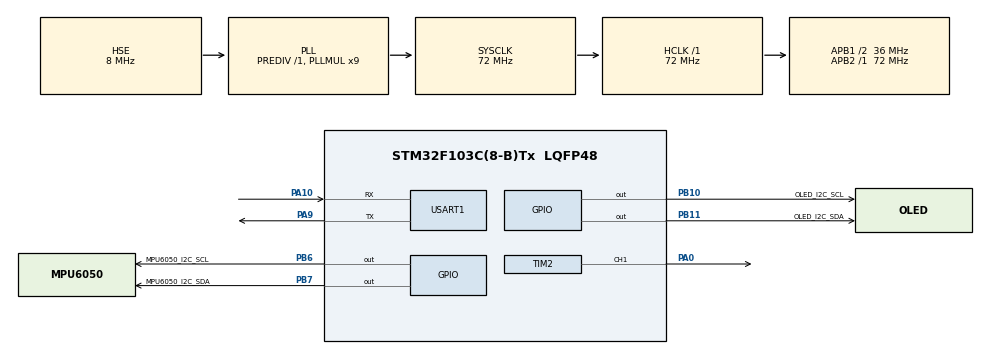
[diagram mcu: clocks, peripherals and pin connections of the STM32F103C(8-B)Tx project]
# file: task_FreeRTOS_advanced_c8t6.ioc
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Dma.Request0=USART1_RX
Dma.Request1=USART1_TX
Dma.USART1_RX.0.Direction=DMA_PERIPH_TO_MEMORY
Dma.USART1_RX.0.Instance=DMA1_Channel5
Dma.USART1_RX.0.MemDataAlignment=DMA_MDATAALIGN_BYTE
Dma.USART1_RX.0.MemInc=DMA_MINC_ENABLE
Dma.USART1_RX.0.Mode=DMA_NORMAL
Dma.USART1_RX.0.PeriphDataAlignment=DMA_PDATAALIGN_BYTE
Dma.USART1_RX.0.PeriphInc=DMA_PINC_DISABLE
Dma.USART1_RX.0.Priority=DMA_PRIORITY_LOW
Dma.USART1_TX.1.Direction=DMA_MEMORY_TO_PERIPH
Dma.USART1_TX.1.Instance=DMA1_Channel4
Dma.USART1_TX.1.MemDataAlignment=DMA_MDATAALIGN_BYTE
Dma.USART1_TX.1.MemInc=DMA_MINC_ENABLE
Dma.USART1_TX.1.Mode=DMA_NORMAL
Dma.USART1_TX.1.PeriphDataAlignment=DMA_PDATAALIGN_BYTE
Dma.USART1_TX.1.PeriphInc=DMA_PINC_DISABLE
Dma.USART1_TX.1.Priority=DMA_PRIORITY_LOW
FREERTOS.BinarySemaphores01=BinarySem_Rec,Dynamic,NULL
FREERTOS.Mutexes01=Mutex_UART_Lock,Dynamic,NULL
FREERTOS.Tasks01=myTask_read_IMU,8,128,StartmyTask_read_IMU,Default,NULL,Dynamic,NULL,NULL;myTask_LED,8,128,StartLED_Task,Default,NULL,Dynamic,NULL,NULL;myTask_UART,24,256,StartTask_UART,Default,NULL,Dynamic,NULL,NULL
Mcu.Family=STM32F1
Mcu.Name=STM32F103C(8-B)Tx
Mcu.Package=LQFP48
NVIC.DMA1_Channel4_IRQn=true\:5\:0\:false\:false\:true\:true\:false\:true
NVIC.DMA1_Channel5_IRQn=true\:5\:0\:false\:false\:true\:true\:false\:true
NVIC.PriorityGroup=NVIC_PRIORITYGROUP_4
NVIC.TIM4_IRQn=true\:15\:0\:false\:false\:true\:false\:false\:true
NVIC.TimeBase=TIM4_IRQn
NVIC.TimeBaseIP=TIM4
NVIC.USART1_IRQn=true\:5\:0\:false\:false\:true\:true\:true\:true
PA0-WKUP.Signal=S_TIM2_CH1_ETR
PA10.Mode=Asynchronous
PA10.Signal=USART1_RX
PA13.Mode=Serial_Wire
PA13.Signal=SYS_JTMS-SWDIO
PA14.Mode=Serial_Wire
PA14.Signal=SYS_JTCK-SWCLK
PA9.Mode=Asynchronous
PA9.Signal=USART1_TX
PB10.GPIO_Label=OLED_I2C_SCL
PB10.GPIO_ModeDefaultOutputPP=GPIO_MODE_OUTPUT_OD
PB10.GPIO_Speed=GPIO_SPEED_FREQ_MEDIUM
PB10.PinState=GPIO_PIN_SET
PB10.Signal=GPIO_Output
PB11.GPIO_Label=OLED_I2C_SDA
PB11.GPIO_ModeDefaultOutputPP=GPIO_MODE_OUTPUT_OD
PB11.GPIO_Speed=GPIO_SPEED_FREQ_MEDIUM
PB11.Signal=GPIO_Output
PB6.GPIO_Label=MPU6050_I2C_SCL
PB6.GPIO_Speed=GPIO_SPEED_FREQ_MEDIUM
PB6.PinState=GPIO_PIN_SET
PB6.Signal=GPIO_Output
PB7.GPIO_Label=MPU6050_I2C_SDA
PB7.GPIO_Speed=GPIO_SPEED_FREQ_MEDIUM
PB7.PinState=GPIO_PIN_SET
PB7.Signal=GPIO_Output
PC14-OSC32_IN.Mode=LSE-External-Oscillator
PC14-OSC32_IN.Signal=RCC_OSC32_IN
PC15-OSC32_OUT.Mode=LSE-External-Oscillator
PC15-OSC32_OUT.Signal=RCC_OSC32_OUT
PD0-OSC_IN.Mode=HSE-External-Oscillator
PD0-OSC_IN.Signal=RCC_OSC_IN
PD1-OSC_OUT.Mode=HSE-External-Oscillator
PD1-OSC_OUT.Signal=RCC_OSC_OUT
ProjectManager.HeapSize=0x200
ProjectManager.StackSize=0x400
ProjectManager.TargetToolchain=MDK-ARM V5.32
RCC.AHBFreq_Value=72000000
RCC.APB1CLKDivider=RCC_HCLK_DIV2
RCC.APB1Freq_Value=36000000
RCC.APB1TimFreq_Value=72000000
RCC.APB2Freq_Value=72000000
RCC.APB2TimFreq_Value=72000000
RCC.HCLKFreq_Value=72000000
RCC.PLLMUL=RCC_PLL_MUL9
RCC.PLLSourceVirtual=RCC_PLLSOURCE_HSE
RCC.SYSCLKFreq_VALUE=72000000
RCC.SYSCLKSource=RCC_SYSCLKSOURCE_PLLCLK
RCC.USBFreq_Value=72000000
SH.S_TIM2_CH1_ETR.0=TIM2_CH1,PWM Generation1 CH1
TIM2.Channel-PWM\ Generation1\ CH1=TIM_CHANNEL_1
TIM2.Period=100-1
TIM2.Prescaler=720-1
USART1.VirtualMode=VM_ASYNC
VP_FREERTOS_VS_CMSIS_V2.Mode=CMSIS_V2
VP_SYS_VS_tim4.Mode=TIM4
VP_TIM3_VS_ClockSourceINT.Mode=Internal
board=custom

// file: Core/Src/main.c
/* USER CODE BEGIN Header */
/**
  ******************************************************************************
  * @file           : main.c
  * @brief          : Main program body
  ******************************************************************************
  * @attention
  *
  * <h2><center>&copy; Copyright (c) 2024 STMicroelectronics.
  * All rights reserved.</center></h2>
  *
  * This software component is licensed by ST under Ultimate Liberty license
  * SLA0044, the "License"; You may not use this file except in compliance with
  * the License. You may obtain a copy of the License at:
  *                             www.st.com/SLA0044
  *
  ******************************************************************************
  */
/* USER CODE END Header */
#include "main.h"
#include "cmsis_os.h"
#include "dma.h"
#include "tim.h"
#include "usart.h"
#include "gpio.h"

/* USER CODE BEGIN Includes */
#include "OLED.h"
#include "delay.h"
#include "mpu6050.h"
#include "inv_mpu.h"
/* USER CODE END Includes */

/* USER CODE BEGIN PV */
 xUSATR_TypeDef xUSART1={0}; //管理串口接收

/* USER CODE END PV */

void SystemClock_Config(void);
void MX_FREERTOS_Init(void);

int main(void)
{

  /* MCU Configuration--------------------------------------------------------*/

  /* Reset of all peripherals, Initializes the Flash interface and the Systick. */
  HAL_Init();

  /* Configure the system clock */
  SystemClock_Config();

  /* Initialize all configured peripherals */
  MX_GPIO_Init();
  MX_DMA_Init();
  MX_TIM2_Init();
  MX_TIM3_Init();
  MX_USART1_UART_Init();
  /* USER CODE BEGIN 2 */
	HAL_TIM_Base_Start(&htim2);    //开启时基，cubeMX初始化并不会开启定时器，需要我们手动打开使能定时器
	HAL_TIM_PWM_Start(&htim2,TIM_CHANNEL_1);//开启定时器2的PWM通道1的输出

  HAL_TIM_Base_Start(&htim3);//开启定时器3,定时器3用于精确的delay
	OLED_Init();               //初始化OLED

  MPU_Init();					//初始化MPU6050
	while(1)
	{
		uint8_t error = mpu_dmp_init();                      //初始化mpu_dmp库
	  OLED_Printf(4,1,"error:%d",error);
		//注释printf，为方便移植，因为本工程不需要太多和IMU本身无关的东西
//		printf("ERROR:%d\r\n",error);                //串口显示初始化错误值
//		switch (error)                               //对不同错误值类型判断
//		{
//			case 0:printf("DMP库初始化正常\r\n");break;
//			case 1:printf("设置传感器失败\r\n");break;
//			case 2:printf("设置FIFO失败\r\n");break;
//			case 3:printf("设置采样率失败\r\n");break;
//			case 4:printf("加载dmp固件失败\r\n");break;
//			case 5:printf("设置陀螺仪方向失败\r\n");break;
//			case 6:printf("设置dmp功能失败\r\n");break;
//			case 7:printf("设置DMP输出速率失败\r\n");break;
//			case 8:printf("自检失败\r\n");break;
//			case 9:printf("使能DMP失败\r\n");break;
//			case 10:printf("初始化MPU6050失败\r\n");break;
//			default :printf("未知错误\r\n");break;
//		}
		if(error == 0)break;                        //如果没有错误直接退出循环
	}

	HAL_UARTEx_ReceiveToIdle_DMA(&huart1, xUSART1.BuffTemp, sizeof(xUSART1.BuffTemp));    //开启DMA接收完成中断，串口空闲中断

  /* USER CODE END 2 */

  /* Init scheduler */
  osKernelInitialize();  /* Call init function for freertos objects (in freertos.c) */
  MX_FREERTOS_Init();
  /* Start scheduler */
  osKernelStart();

  /* We should never get here as control is now taken by the scheduler */
  /* Infinite loop */
  while (1)
  {

  }
}

void SystemClock_Config(void)
{
  RCC_OscInitTypeDef RCC_OscInitStruct = {0};
  RCC_ClkInitTypeDef RCC_ClkInitStruct = {0};

  /** Initializes the RCC Oscillators according to the specified parameters
  * in the RCC_OscInitTypeDef structure.
  */
  RCC_OscInitStruct.OscillatorType = RCC_OSCILLATORTYPE_HSE;
  RCC_OscInitStruct.HSEState = RCC_HSE_ON;
  RCC_OscInitStruct.HSEPredivValue = RCC_HSE_PREDIV_DIV1;
  RCC_OscInitStruct.HSIState = RCC_HSI_ON;
  RCC_OscInitStruct.PLL.PLLState = RCC_PLL_ON;
  RCC_OscInitStruct.PLL.PLLSource = RCC_PLLSOURCE_HSE;
  RCC_OscInitStruct.PLL.PLLMUL = RCC_PLL_MUL9;
  if (HAL_RCC_OscConfig(&RCC_OscInitStruct) != HAL_OK)
  {
    Error_Handler();
  }
  /** Initializes the CPU, AHB and APB buses clocks
  */
  RCC_ClkInitStruct.ClockType = RCC_CLOCKTYPE_HCLK|RCC_CLOCKTYPE_SYSCLK
                              |RCC_CLOCKTYPE_PCLK1|RCC_CLOCKTYPE_PCLK2;
  RCC_ClkInitStruct.SYSCLKSource = RCC_SYSCLKSOURCE_PLLCLK;
  RCC_ClkInitStruct.AHBCLKDivider = RCC_SYSCLK_DIV1;
  RCC_ClkInitStruct.APB1CLKDivider = RCC_HCLK_DIV2;
  RCC_ClkInitStruct.APB2CLKDivider = RCC_HCLK_DIV1;

  if (HAL_RCC_ClockConfig(&RCC_ClkInitStruct, FLASH_LATENCY_2) != HAL_OK)
  {
    Error_Handler();
  }
}

void HAL_TIM_PeriodElapsedCallback(TIM_HandleTypeDef *htim)
{
  if (htim->Instance == TIM4) {
    HAL_IncTick();
  }
}

void Error_Handler(void)
{
  __disable_irq();
  while (1)
  {
  }
}

/************************ (C) COPYRIGHT STMicroelectronics *****END OF FILE****/

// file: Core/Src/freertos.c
/* USER CODE BEGIN Header */
/**
  ******************************************************************************
  * File Name          : freertos.c
  * Description        : Code for freertos applications
  ******************************************************************************
  * @attention
  *
  * <h2><center>&copy; Copyright (c) 2024 STMicroelectronics.
  * All rights reserved.</center></h2>
  *
  * This software component is licensed by ST under Ultimate Liberty license
  * SLA0044, the "License"; You may not use this file except in compliance with
  * the License. You may obtain a copy of the License at:
  *                             www.st.com/SLA0044
  *
  ******************************************************************************
  */
/* USER CODE END Header */

#include "FreeRTOS.h"
#include "task.h"
#include "main.h"
#include "cmsis_os.h"

/* USER CODE BEGIN Includes */
#include "tim.h"
#include "queue.h"
#include "semphr.h"

#include "OLED.h"
#include "delay.h"
#include "mpu6050.h"
#include "inv_mpu.h"

#include "stdio.h"
#include "string.h"
#include "stdlib.h"
#include "stdbool.h"
/* USER CODE END Includes */

/* USER CODE BEGIN PTD */
typedef struct {
    float freq;
    float max_lighting;
    //可扩展更多参数
} LED_Params_t;//LED调参结构体，为下面的parseParameters函数服务
/* USER CODE END PTD */

/* USER CODE BEGIN Variables */
xQueueHandle Queue_Trams_param_handle; //队列
/* USER CODE END Variables */
/* Definitions for myTask_read_IMU */
osThreadId_t myTask_read_IMUHandle;
const osThreadAttr_t myTask_read_IMU_attributes = {
  .name = "myTask_read_IMU",
  .stack_size = 128 * 4,
  .priority = (osPriority_t) osPriorityLow,
};
/* Definitions for myTask_LED */
osThreadId_t myTask_LEDHandle;
const osThreadAttr_t myTask_LED_attributes = {
  .name = "myTask_LED",
  .stack_size = 128 * 4,
  .priority = (osPriority_t) osPriorityLow,
};
/* Definitions for myTask_UART */
osThreadId_t myTask_UARTHandle;
const osThreadAttr_t myTask_UART_attributes = {
  .name = "myTask_UART",
  .stack_size = 256 * 4,
  .priority = (osPriority_t) osPriorityNormal,
};
/* Definitions for Mutex_UART_Lock */
osMutexId_t Mutex_UART_LockHandle;
const osMutexAttr_t Mutex_UART_Lock_attributes = {
  .name = "Mutex_UART_Lock"
};
/* Definitions for BinarySem_Rec */
osSemaphoreId_t BinarySem_RecHandle;
const osSemaphoreAttr_t BinarySem_Rec_attributes = {
  .name = "BinarySem_Rec"
};

/* USER CODE BEGIN FunctionPrototypes */
void breathing_light(float frequency, uint8_t max_brightness);//呼吸灯
bool parseParameters(const char *input, LED_Params_t *params);//参数解析函数
/* USER CODE END FunctionPrototypes */

void StartmyTask_read_IMU(void *argument);
void StartLED_Task(void *argument);
void StartTask_UART(void *argument);

void MX_FREERTOS_Init(void); /* (MISRA C 2004 rule 8.1) */

void MX_FREERTOS_Init(void) {
  /* Create the mutex(es) */
  /* creation of Mutex_UART_Lock */
  Mutex_UART_LockHandle = osMutexNew(&Mutex_UART_Lock_attributes);

  /* Create the semaphores(s) */
  /* creation of BinarySem_Rec */
  BinarySem_RecHandle = osSemaphoreNew(1, 1, &BinarySem_Rec_attributes);

  /* USER CODE BEGIN RTOS_QUEUES */
  /* add queues, ... */

	Queue_Trams_param_handle=xQueueCreate(2,sizeof(LED_Params_t));//传递LED参数的队列LED

  /* USER CODE END RTOS_QUEUES */

  /* Create the thread(s) */
  /* creation of myTask_read_IMU */
  myTask_read_IMUHandle = osThreadNew(StartmyTask_read_IMU, NULL, &myTask_read_IMU_attributes);

  /* creation of myTask_LED */
  myTask_LEDHandle = osThreadNew(StartLED_Task, NULL, &myTask_LED_attributes);

  /* creation of myTask_UART */
  myTask_UARTHandle = osThreadNew(StartTask_UART, NULL, &myTask_UART_attributes);

}

void StartmyTask_read_IMU(void *argument)
{
  /* USER CODE BEGIN StartmyTask_read_IMU */
	float pitch,roll,yaw; 		//欧拉角
	short aacx,aacy,aacz;		//加速度传感器原始数据
	short gyrox,gyroy,gyroz;	//陀螺仪原始数据

  /* Infinite loop */
  for(;;)
  {
		MPU_Get_Gyroscope(&gyrox,&gyroy,&gyroz);//获取三轴角速度
    MPU_Get_Accelerometer(&aacx,&aacy,&aacz);//获取三轴加速度
		mpu_dmp_get_data(&pitch,&roll,&yaw);     //获取欧拉角

		OLED_Printf(1,1,"ax:%d",aacx);
		OLED_Printf(2,1,"ay:%d",aacy);
		OLED_Printf(3,1,"az:%d",aacz);
		OLED_Printf(1,9,"gx:%d",gyrox);
		OLED_Printf(2,10,"gy:%d",gyroy);
		OLED_Printf(3,10,"gz:%d",gyroz);

    vTaskDelay(10);
  }
  /* USER CODE END StartmyTask_read_IMU */
}

void StartLED_Task(void *argument)
{
  /* USER CODE BEGIN StartLED_Task */
	LED_Params_t LED_Params={0.5,100};
  /* Infinite loop */
  for(;;)
  {

		//如果传参队列里面有数据，获取;如果无数据，立即返回，不等待
	 xQueueReceive(Queue_Trams_param_handle,&LED_Params,0);

   breathing_light(LED_Params.freq,LED_Params.max_lighting);
  }
  /* USER CODE END StartLED_Task */
}

void StartTask_UART(void *argument)
{
  /* USER CODE BEGIN StartTask_UART */

  /* Infinite loop */
  for(;;)
  {
		xSemaphoreTake(BinarySem_RecHandle,portMAX_DELAY);//获取信号量(串口有数据来了)

		xSemaphoreTake(Mutex_UART_LockHandle,portMAX_DELAY);//获取互斥锁
		printf("收到: %s\n",xUSART1.ReceiveData);
		xSemaphoreGive(Mutex_UART_LockHandle);//释放互斥锁

		LED_Params_t LED_Params={0.5,100};

		parseParameters((char*)xUSART1.ReceiveData,&LED_Params);//解析参数(xUSART1.ReceiveData已经加上了‘\0’，可以强转为(char*))

		xQueueSend(Queue_Trams_param_handle,&LED_Params,portMAX_DELAY);//通过队列将参数结构体发给LED任务

  }
  /* USER CODE END StartTask_UART */
}

/* USER CODE BEGIN Application */
/*
*@brief  LED呼吸灯，可通过入口参数调整最大亮度和频率
*@param1 frequency 呼吸灯频率 0.1~2之间比较合适
*@param2 max_brightness 呼吸灯最大亮度  取值0~100
*/
void breathing_light(float frequency, uint8_t max_brightness)
{

	  float T =1000.0/frequency;//单位ms

    // 计算每个阶段的延迟（单位：毫秒）
    uint32_t delay_time_ms = T/(2*max_brightness);

    // 逐渐增加亮度
    for (uint8_t brightness = 0; brightness <= max_brightness; brightness++)
	  {
        SetPWMDuty(&htim2,TIM_CHANNEL_1,brightness);

        vTaskDelay(pdMS_TO_TICKS(delay_time_ms));
    }

    // 逐渐减少亮度
    for (uint8_t brightness = max_brightness; brightness > 0; brightness--)
		{
        SetPWMDuty(&htim2,TIM_CHANNEL_1,brightness);

        vTaskDelay(pdMS_TO_TICKS(delay_time_ms));
    }
}

/*
*@brief  参数解析函数
*@param1 从串口助手收到的字节数组,格式为{freq=11;max=11;}，(若有其他参数需求，可以修改判断分支和参数结构体)
*@retval true:成功  false；失败
*@注意：本函数用到了很多局部变量，需要较多堆栈
*/
bool parseParameters(const char *input, LED_Params_t *params)
{
    // 初始化参数为默认值
    *params = (LED_Params_t){0.5, 100};

    // 检查输入格式
    if (input[0] != '{' || input[strlen(input) - 1] != '}')
		{
      return false;  // 格式不正确
    }

    // 去掉大括号
    char buffer[100];  //这个地方可能需要更多的空间
    strncpy(buffer, input + 1, strlen(input) - 2);
    buffer[strlen(input) - 2] = '\0';  // 结束字符串

    // 分割参数
    char *token = strtok(buffer, ";");
    while (token != NULL)
		{
        char key[10];
        char value[10];

        // 分割键值对
        if(sscanf(token, "%[^=]=%s", key, value) == 2)// %[^=]读取=之前的所有东西，放在key里；%s读取表示读取接下来的所有非空白字符，直到遇到空格或字符串结束,存储到 value 变量中。
				{
            if (strcmp(key, "freq") == 0) //如果键等于freq
						{
              params->freq = atof(value);  // 转换为 float
            }
						else if (strcmp(key, "max") == 0) //如果键等于max
						{
              params->max_lighting = atof(value);  // 转换为 float
            }
        }
        token = strtok(NULL, ";");//继续分割字符串
    }

    return true;  // 解析成功
}
/* USER CODE END Application */

/************************ (C) COPYRIGHT STMicroelectronics *****END OF FILE****/
